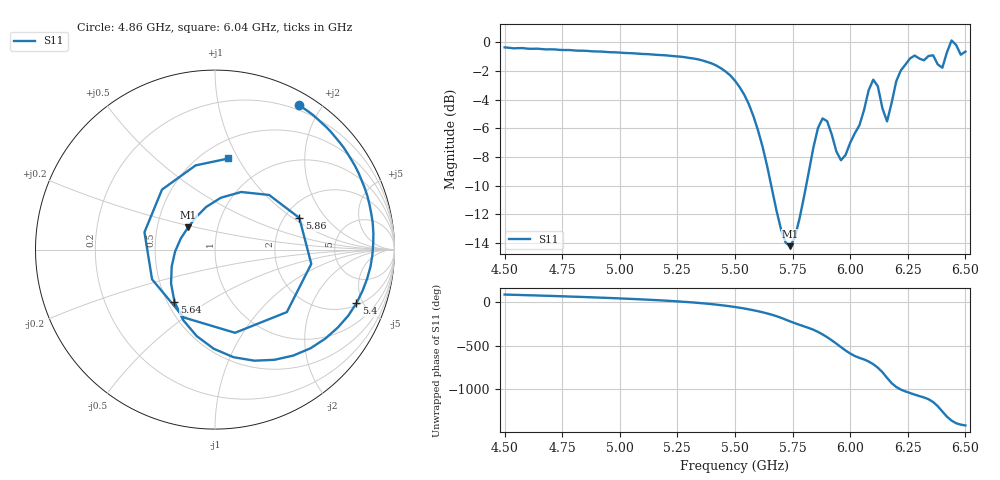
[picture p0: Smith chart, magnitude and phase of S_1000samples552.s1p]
! TOUCHSTONE file generated by CST MICROWAVE STUDIO
! Date and time: Fri Oct 28 13:43:43 2022
! Project name: L.cst
! Parameters = {Di=1.27; Epsilon_r=1.56; InnerDiameter=1.27; Length=2; Lf=10; Lg=60; OuterConductorThickness=0.2921; OuterDiameter=3.6; Wf=3; Wp=41.2; de=1.5; df=6.8; g=0.8; gx=4.84516; gy=2.54048; h=2.34; hf=1.524; px=10.1779; py=14.7833; w=9.7; wx=5.33277; wy=12.2428}
! Header version: 2018
! Port assignment regex: !\s*Touchstone port\s*([0-9]+)\s*=\s*(CST MWS port|CST DS port)\s*([0-9]+|Zmin|Zmax)\s*\(\"(.*)\"\)(\s*mode\s*([0-9]+))?.*
! Touchstone port assignment:
! Touchstone port 1 = CST MWS port 1 ("")
# GHz S DB R 50
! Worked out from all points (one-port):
!   101 points, 4.5 GHz to 6.5 GHz, reference 50 ohm
!   lowest |S11| = -14.2 dB at 5.74 GHz (marker M1), VSWR 1.48, Z = 36 + j9.32 ohm
!   |S11| at or under -10 dB: 5.657 GHz to 5.809 GHz (151.4 MHz wide, 2.64 % of centre)
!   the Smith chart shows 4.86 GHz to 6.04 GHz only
!   S11 on the Smith chart (normalised r, x): 4.86 GHz: 0.14, +1.73; 5.4 GHz: 2.15, -4.45; 5.64 GHz: 0.54, -0.37; 5.86 GHz: 2.39, +1.13; 6.04 GHz: 0.66, +0.91
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4.5  -0.36 89.9
4.76  -0.54 69.1
4.86  -0.61 59.8
5  -0.72 45.4
5.26  -1.00 9.7
5.4  -1.48 -20.8
5.5  -2.68 -53.5
5.64  -8.67 -127.7
5.74  -14.22 140.2
5.76  -13.59 120.3
5.86  -5.99 20.6
5.92  -6.43 -76.5
5.96  -8.23 -154.8
6  -7.01 131.4
6.04  -5.79 81.6
6.1  -2.61 8.6
6.14  -4.62 -83.2
6.18  -4.22 150.4
6.22  -1.96 76.5
6.26  -1.13 36.9
6.32  -1.26 -13.7
6.36  -0.91 -66.8
6.38  -1.55 -114.4
6.4  -1.78 -175.5
6.42  -0.70 125.3
6.44  0.12 80.0
6.46  -0.20 49.5
6.5  -0.65 24.0
